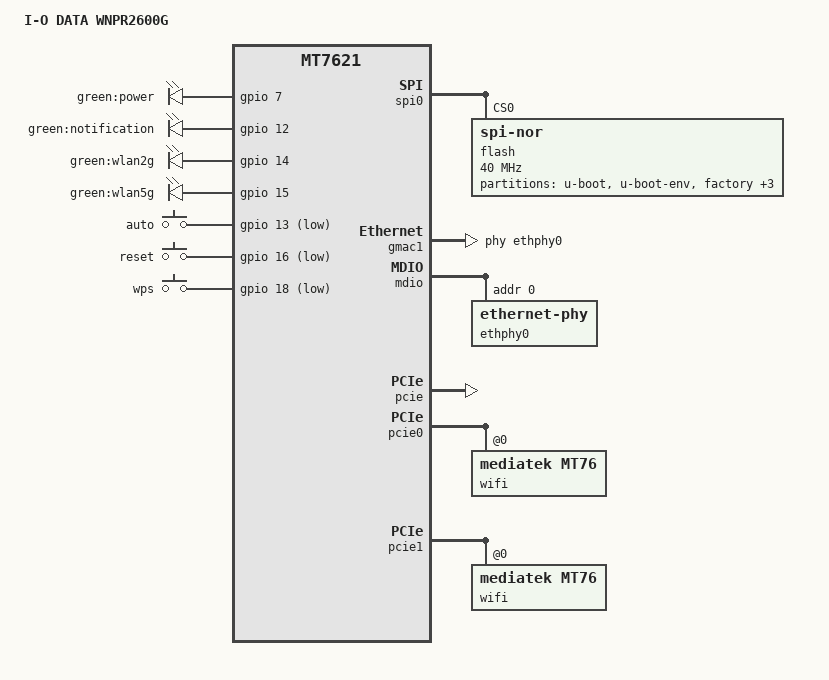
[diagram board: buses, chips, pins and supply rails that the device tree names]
// SPDX-License-Identifier: GPL-2.0-or-later OR MIT

#include "mt7621.dtsi"

#include <dt-bindings/gpio/gpio.h>
#include <dt-bindings/input/input.h>

/ {
	compatible = "iodata,wnpr2600g", "mediatek,mt7621-soc";
	model = "I-O DATA WNPR2600G";

	aliases {
		led-boot = &led_power;
		led-failsafe = &led_power;
		led-running = &led_power;
		led-upgrade = &led_power;
	};

	leds {
		compatible = "gpio-leds";

		led_power: power {
			label = "green:power";
			gpios = <&gpio 7 GPIO_ACTIVE_HIGH>;
			default-state = "on";
		};

		notification {
			label = "green:notification";
			gpios = <&gpio 12 GPIO_ACTIVE_HIGH>;
		};

		wlan2g {
			label = "green:wlan2g";
			gpios = <&gpio 14 GPIO_ACTIVE_HIGH>;
			linux,default-trigger = "phy0radio";
		};

		wlan5g {
			label = "green:wlan5g";
			gpios = <&gpio 15 GPIO_ACTIVE_HIGH>;
			linux,default-trigger = "phy1radio";
		};
	};

	keys {
		compatible = "gpio-keys";

		auto {
			label = "auto";
			gpios = <&gpio 13 GPIO_ACTIVE_LOW>;
			linux,code = <BTN_0>;
			linux,input-type = <EV_SW>;
		};

		reset {
			label = "reset";
			gpios = <&gpio 16 GPIO_ACTIVE_LOW>;
			linux,code = <KEY_RESTART>;
		};

		wps {
			label = "wps";
			gpios = <&gpio 18 GPIO_ACTIVE_LOW>;
			linux,code = <KEY_WPS_BUTTON>;
		};
	};
};

&spi0 {
	status = "okay";

	flash@0 {
		compatible = "jedec,spi-nor";
		reg = <0>;
		spi-max-frequency = <40000000>;

		partitions {
			compatible = "fixed-partitions";
			#address-cells = <1>;
			#size-cells = <1>;

			partition@0 {
				label = "u-boot";
				reg = <0x000000 0x030000>;
				read-only;
			};

			partition@30000 {
				label = "u-boot-env";
				reg = <0x030000 0x010000>;
				read-only;
			};

			factory: partition@40000 {
				label = "factory";
				reg = <0x040000 0x010000>;
				read-only;
			};

			partition@50000 {
				compatible = "denx,uimage";
				label = "firmware";
				reg = <0x050000 0xda0000>;
			};

			partition@df0000 {
				label = "manufacture";
				reg = <0xdf0000 0x190000>;
				read-only;
			};

			partition@f80000 {
				label = "storage";
				reg = <0xf80000 0x080000>;
				read-only;
			};
		};
	};
};

&gmac0 {
	mtd-mac-address = <&factory 0x4>;
};

&gmac1 {
	status = "okay";
	label = "wan";
	phy-handle = <&ethphy0>;

	mtd-mac-address = <&factory 0x4>;
};

&mdio {
	ethphy0: ethernet-phy@0 {
		reg = <0>;
	};
};

&switch0 {
	ports {
		port@1 {
			status = "okay";
			label = "lan4";
		};

		port@2 {
			status = "okay";
			label = "lan3";
		};

		port@3 {
			status = "okay";
			label = "lan2";
		};

		port@4 {
			status = "okay";
			label = "lan1";
		};
	};
};

&state_default {
	gpio {
		groups = "uart2", "uart3", "jtag", "wdt";
		function = "gpio";
	};
};

&pcie {
	status = "okay";
};

&pcie0 {
	wifi@0,0 {
		compatible = "mediatek,mt76";
		reg = <0x0000 0 0 0 0>;
		mediatek,mtd-eeprom = <&factory 0x0>;
		ieee80211-freq-limit = <2400000 2500000>;
	};
};

&pcie1 {
	wifi@0,0 {
		compatible = "mediatek,mt76";
		reg = <0x0000 0 0 0 0>;
		mediatek,mtd-eeprom = <&factory 0x8000>;
		ieee80211-freq-limit = <5000000 6000000>;
	};
};

&xhci {
	status = "disabled";
};
